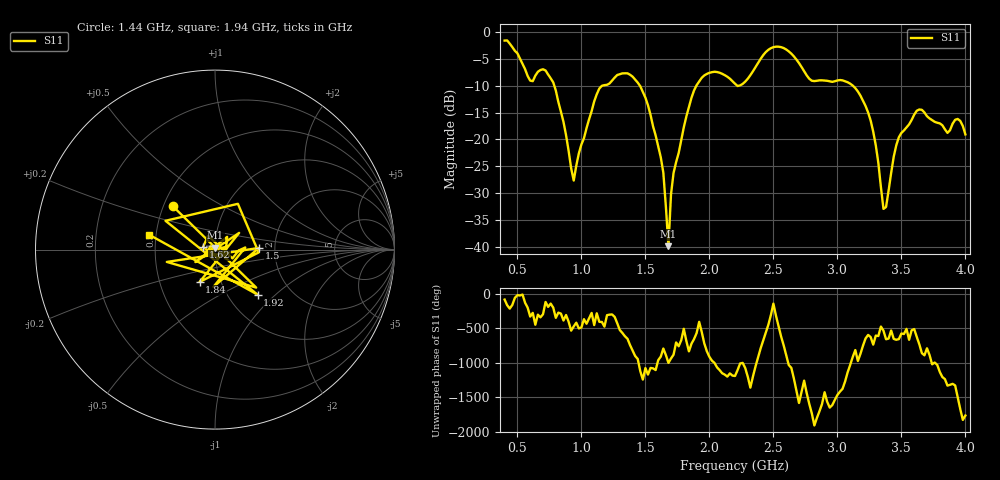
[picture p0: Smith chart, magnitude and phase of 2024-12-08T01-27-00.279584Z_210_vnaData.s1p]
!Created with skrf (http://scikit-rf.org).
# Hz S RI R 50.0
!freq ReS11 ImS11
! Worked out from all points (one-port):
!   181 points, 400 MHz to 4 GHz, reference 50 ohm
!   lowest |S11| = -39.9 dB at 1.68 GHz (marker M1), VSWR 1.02, Z = 50.2 + j0.993 ohm
!   |S11| at or under -10 dB: 788 MHz to 1.165 GHz (376.7 MHz wide, 38.6 % of centre); 1.457 GHz to 1.898 GHz (441.6 MHz wide, 26.3 % of centre); 3.121 GHz to end of sweep (the widest 3 of 4)
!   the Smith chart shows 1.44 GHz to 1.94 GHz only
!   S11 on the Smith chart (normalised r, x): 1.44 GHz: 0.56, +0.31; 1.5 GHz: 1.65, +0.03; 1.62 GHz: 0.87, +0.03; 1.84 GHz: 0.79, -0.30; 1.92 GHz: 1.37, -0.78; 1.94 GHz: 0.46, +0.09
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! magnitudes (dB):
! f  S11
! 400 MHz  -1.6
! 600 MHz  -9.1
! 720 MHz  -7.2
! 860 MHz  -16.8
! 940 MHz  -27.7
! 1.12 GHz  -11.6
! 1.3 GHz  -7.9
! 1.44 GHz  -9.4
! 1.5 GHz  -12.2
! 1.62 GHz  -23.3
! 1.64 GHz  -26.2
! 1.68 GHz  -39.9
! 1.7 GHz  -30.2
! 1.76 GHz  -22.5
! 1.84 GHz  -14.0
! 1.92 GHz  -9.2
! 1.94 GHz  -8.5
! 2.2 GHz  -9.6
! 2.48 GHz  -3.0
! 2.66 GHz  -4.6
! 2.8 GHz  -9.1
! 3.1 GHz  -9.6
! 3.26 GHz  -16.5
! 3.36 GHz  -32.9
! 3.46 GHz  -21.1
! 3.56 GHz  -17.2
! 3.66 GHz  -14.5
! 4 GHz  -19.1
